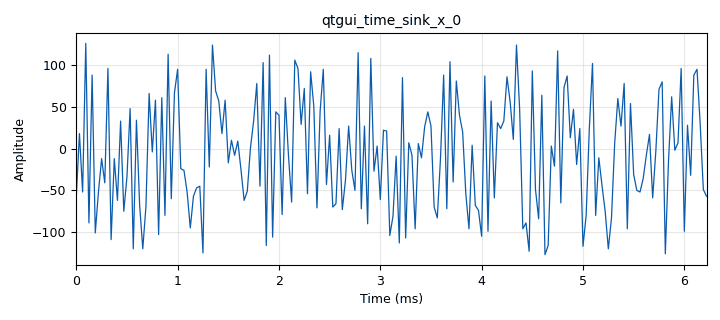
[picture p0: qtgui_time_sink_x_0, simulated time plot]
options:
  parameters:
    generate_options: qt_gui
    id: sa
    output_language: python
    title: Not titled yet
  states: {}

blocks:
- name: compensation_delay
  id: variable
  parameters:
    value: '0'
  states: {}
- name: reset_calibration_button
  id: variable_qtgui_push_button
  parameters:
    label: Reset Calibration
    pressed: '1'
    released: '0'
    type: bool
    value: 'False'
  states: {}
- name: samp_rate
  id: variable
  parameters:
    value: '32000'
  states: {}
- name: start_calibration_button
  id: variable_qtgui_push_button
  parameters:
    label: Start Calibration
    pressed: '1'
    released: '0'
    type: bool
    value: 'False'
  states: {}
- name: analog_random_source_x_0
  id: analog_random_source_x
  parameters:
    max: '256'
    min: '0'
    num_samps: '1000'
    repeat: 'True'
    type: byte
  states: {}
- name: blocks_char_to_float_0
  id: blocks_char_to_float
  parameters:
    scale: '1'
  states: {}
- name: blocks_char_to_float_1
  id: blocks_char_to_float
  parameters:
    scale: '1'
  states: {}
- name: blocks_delay_0
  id: blocks_delay
  parameters:
    delay: '5'
    showports: 'True'
    type: byte
  states: {}
- name: blocks_delay_1
  id: blocks_delay
  parameters:
    delay: compensation_delay
    showports: 'True'
    type: byte
  states: {}
- name: blocks_sub_xx_0
  id: blocks_sub_xx
  parameters:
    type: float
  states: {state: disabled}
- name: blocks_throttle2_0
  id: blocks_throttle2
  parameters:
    samples_per_second: samp_rate
    type: float
  states: {}
- name: epy_block_0
  id: epy_block
  parameters:
    _source_code: |
      """
      Embedded Python Blocks:

      Each time this file is saved, GRC will instantiate the first class it finds
      to get ports and parameters of your block. The arguments to __init__  will
      be the parameters. All of them are required to have default values!
      """

      import numpy as np
      from gnuradio import gr


      class blk(gr.sync_block):  # other base classes are basic_block, decim_block, interp_block
          """Embedded Python Block example - a simple multiply const"""

          def __init__(self, example_param=1.0):  # only default arguments here
              """arguments to this function show up as parameters in GRC"""
              gr.sync_block.__init__(
                  self,
                  name='Embedded Python Block',   # will show up in GRC
                  in_sig=[np.float32, np.float32],
                  out_sig=[np.float32]
              )
              # if an attribute with the same name as a parameter is found,
              # a callback is registered (properties work, too).
              self.example_param = example_param

          def work(self, input_items, output_items):
              """example: multiply with constant"""
              output_items[0][:] = input_items[0] * self.example_param
              return len(output_items[0])
    example_param: '1.0'
  states: {}
- name: qtgui_time_sink_x_0
  id: qtgui_time_sink_x
  parameters:
    autoscale: 'True'
    color1: red
    size: '200'
    srate: samp_rate
    type: float
  states: {}

connections:
- [analog_random_source_x_0, '0', blocks_delay_0, '0']
- [analog_random_source_x_0, '0', blocks_delay_1, '0']
- [blocks_char_to_float_0, '0', epy_block_0, '0']
- [blocks_char_to_float_1, '0', epy_block_0, '1']
- [blocks_delay_0, '0', blocks_char_to_float_0, '0']
- [blocks_delay_1, '0', blocks_char_to_float_1, '0']
- [blocks_throttle2_0, '0', qtgui_time_sink_x_0, '0']
- [epy_block_0, '0', blocks_throttle2_0, '0']

metadata:
  file_format: 1
  grc_version: 3.10.9.2
